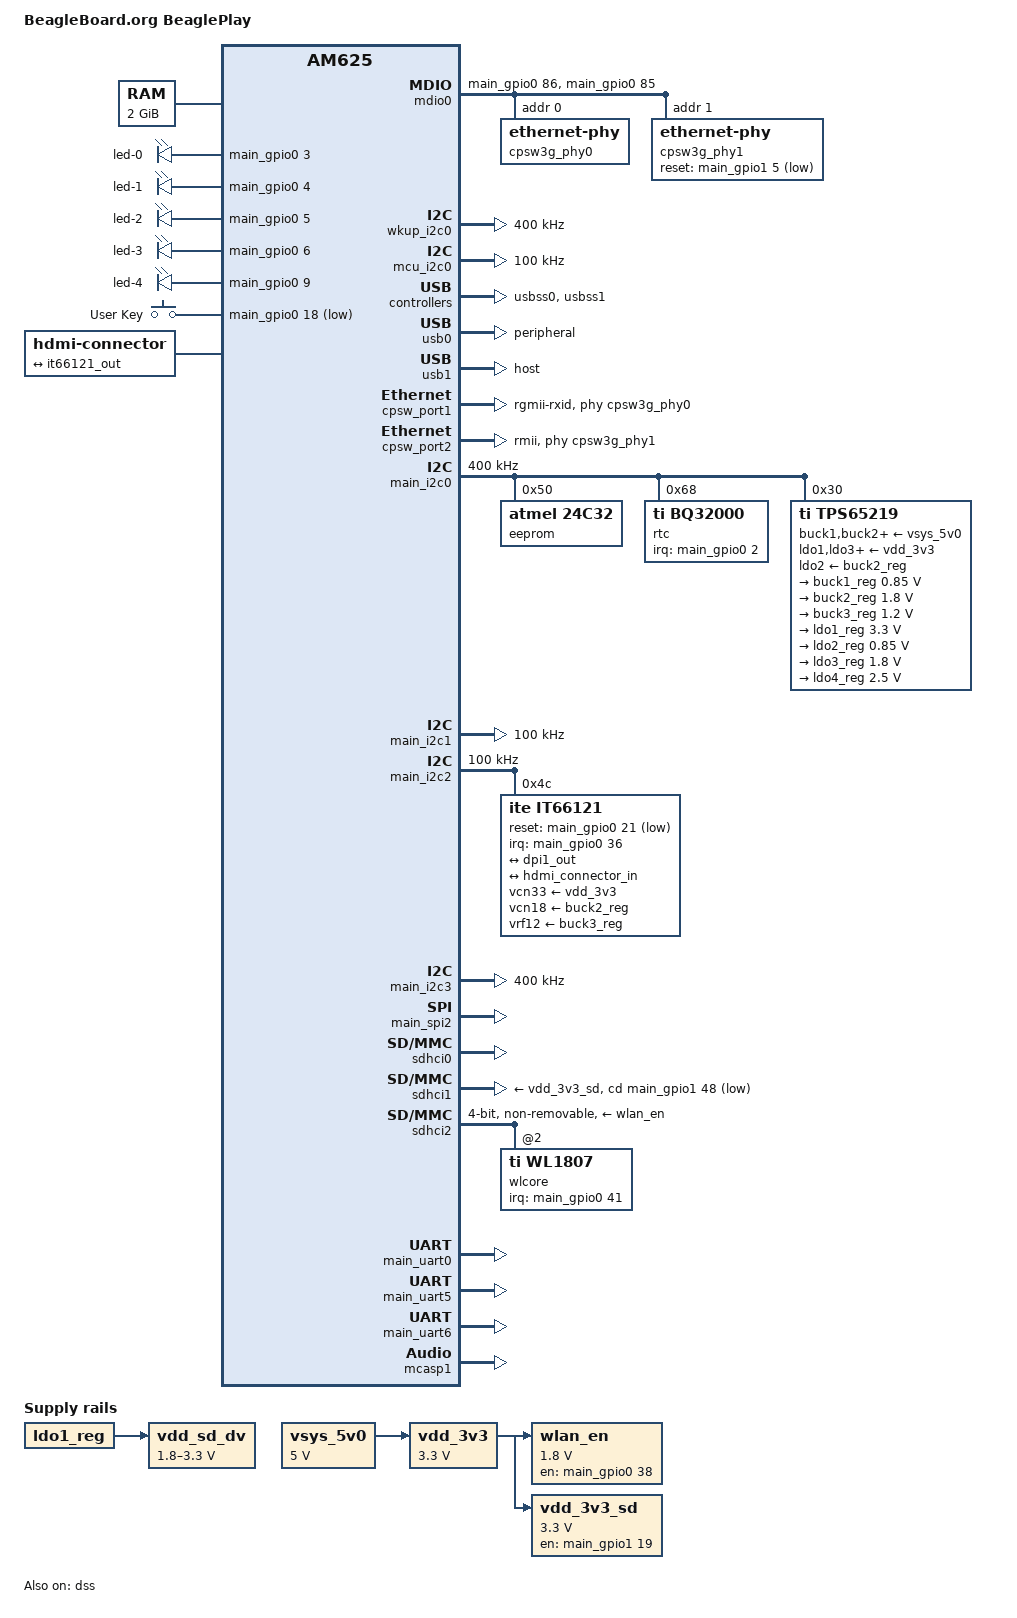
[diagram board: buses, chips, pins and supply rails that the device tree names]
// SPDX-License-Identifier: GPL-2.0
/*
 * https://beagleplay.org/
 *
 * Copyright (C) 2022-2023 Texas Instruments Incorporated - https://www.ti.com/
 * Copyright (C) 2022-2023 Robert Nelson, BeagleBoard.org Foundation
 */

/dts-v1/;

#include <dt-bindings/leds/common.h>
#include <dt-bindings/gpio/gpio.h>
#include <dt-bindings/input/input.h>
#include "k3-am625.dtsi"

/ {
	compatible = "beagle,am625-beagleplay", "ti,am625";
	model = "BeagleBoard.org BeaglePlay";

	aliases {
		ethernet0 = &cpsw_port1;
		ethernet1 = &cpsw_port2;
		gpio0 = &main_gpio0;
		gpio1 = &main_gpio1;
		gpio2 = &mcu_gpio0;
		i2c0 = &main_i2c0;
		i2c1 = &main_i2c1;
		i2c2 = &main_i2c2;
		i2c3 = &main_i2c3;
		i2c4 = &wkup_i2c0;
		i2c5 = &mcu_i2c0;
		mdio-gpio0 = &mdio0;
		mmc0 = &sdhci0;
		mmc1 = &sdhci1;
		mmc2 = &sdhci2;
		rtc0 = &rtc;
		serial0 = &main_uart5;
		serial1 = &main_uart6;
		serial2 = &main_uart0;
		usb0 = &usb0;
		usb1 = &usb1;
	};

	chosen {
		stdout-path = "serial2:115200n8";
	};

	memory@80000000 {
		device_type = "memory";
		/* 2G RAM */
		reg = <0x00000000 0x80000000 0x00000000 0x80000000>;
	};

	reserved-memory {
		#address-cells = <2>;
		#size-cells = <2>;
		ranges;

		ramoops: ramoops@9ca00000 {
			compatible = "ramoops";
			reg = <0x00 0x9ca00000 0x00 0x00100000>;
			record-size = <0x8000>;
			console-size = <0x8000>;
			ftrace-size = <0x00>;
			pmsg-size = <0x8000>;
		};

		secure_tfa_ddr: tfa@9e780000 {
			reg = <0x00 0x9e780000 0x00 0x80000>;
			no-map;
		};

		secure_ddr: optee@9e800000 {
			reg = <0x00 0x9e800000 0x00 0x01800000>;
			no-map;
		};

		wkup_r5fss0_core0_dma_memory_region: r5f-dma-memory@9db00000 {
			compatible = "shared-dma-pool";
			reg = <0x00 0x9db00000 0x00 0xc00000>;
			no-map;
		};
	};

	vsys_5v0: regulator-1 {
		compatible = "regulator-fixed";
		regulator-name = "vsys_5v0";
		regulator-min-microvolt = <5000000>;
		regulator-max-microvolt = <5000000>;
		regulator-always-on;
		regulator-boot-on;
	};

	vdd_3v3: regulator-2 {
		/* output of TLV62595DMQR-U12 */
		compatible = "regulator-fixed";
		regulator-name = "vdd_3v3";
		regulator-min-microvolt = <3300000>;
		regulator-max-microvolt = <3300000>;
		vin-supply = <&vsys_5v0>;
		regulator-always-on;
		regulator-boot-on;
	};

	wlan_en: regulator-3 {
		/* OUTPUT of SN74AVC2T244DQMR */
		compatible = "regulator-fixed";
		regulator-name = "wlan_en";
		regulator-min-microvolt = <1800000>;
		regulator-max-microvolt = <1800000>;
		enable-active-high;
		regulator-always-on;
		vin-supply = <&vdd_3v3>;
		gpio = <&main_gpio0 38 GPIO_ACTIVE_HIGH>;
		pinctrl-names = "default";
		pinctrl-0 = <&wifi_en_pins_default>;
	};

	vdd_3v3_sd: regulator-4 {
		/* output of TPS22918DBVR-U21 */
		pinctrl-names = "default";
		pinctrl-0 = <&vdd_3v3_sd_pins_default>;

		compatible = "regulator-fixed";
		regulator-name = "vdd_3v3_sd";
		regulator-min-microvolt = <3300000>;
		regulator-max-microvolt = <3300000>;
		enable-active-high;
		regulator-always-on;
		vin-supply = <&vdd_3v3>;
		gpio = <&main_gpio1 19 GPIO_ACTIVE_HIGH>;
	};

	vdd_sd_dv: regulator-5 {
		compatible = "regulator-gpio";
		regulator-name = "sd_hs200_switch";
		pinctrl-names = "default";
		pinctrl-0 = <&vdd_sd_dv_pins_default>;
		regulator-min-microvolt = <1800000>;
		regulator-max-microvolt = <3300000>;
		regulator-boot-on;
		vin-supply = <&ldo1_reg>;
		gpios = <&main_gpio1 49 GPIO_ACTIVE_HIGH>;
		states = <1800000 0x0>,
			 <3300000 0x1>;
	};

	leds {
		compatible = "gpio-leds";

		led-0 {
			gpios = <&main_gpio0 3 GPIO_ACTIVE_HIGH>;
			linux,default-trigger = "heartbeat";
			function = LED_FUNCTION_HEARTBEAT;
			default-state = "off";
		};

		led-1 {
			gpios = <&main_gpio0 4 GPIO_ACTIVE_HIGH>;
			linux,default-trigger = "disk-activity";
			function = LED_FUNCTION_DISK_ACTIVITY;
			default-state = "keep";
		};

		led-2 {
			gpios = <&main_gpio0 5 GPIO_ACTIVE_HIGH>;
			function = LED_FUNCTION_CPU;
		};

		led-3 {
			gpios = <&main_gpio0 6 GPIO_ACTIVE_HIGH>;
			function = LED_FUNCTION_LAN;
		};

		led-4 {
			gpios = <&main_gpio0 9 GPIO_ACTIVE_HIGH>;
			function = LED_FUNCTION_WLAN;
		};
	};

	gpio_keys: gpio-keys {
		compatible = "gpio-keys";
		autorepeat;
		pinctrl-names = "default";
		pinctrl-0 = <&usr_button_pins_default>;

		usr: button-usr {
			label = "User Key";
			linux,code = <BTN_0>;
			gpios = <&main_gpio0 18 GPIO_ACTIVE_LOW>;
		};

	};

	hdmi0: connector-hdmi {
		compatible = "hdmi-connector";
		label = "hdmi";
		type = "a";
		port {
			hdmi_connector_in: endpoint {
				remote-endpoint = <&it66121_out>;
			};
		};
	};

	sound {
		compatible = "simple-audio-card";
		simple-audio-card,name = "it66121 HDMI";
		simple-audio-card,format = "i2s";
		simple-audio-card,bitclock-master = <&hdmi_dailink_master>;
		simple-audio-card,frame-master = <&hdmi_dailink_master>;

		hdmi_dailink_master: simple-audio-card,cpu {
			sound-dai = <&mcasp1>;
			system-clock-direction-out;
		};

		simple-audio-card,codec {
			sound-dai = <&it66121>;
		};
	};

	/* Workaround for errata i2329 - just use mdio bitbang */
	mdio0: mdio {
		compatible = "virtual,mdio-gpio";
		pinctrl-names = "default";
		pinctrl-0 = <&mdio0_pins_default>;
		gpios = <&main_gpio0 86 GPIO_ACTIVE_HIGH>, /* MDC */
			<&main_gpio0 85 GPIO_ACTIVE_HIGH>; /* MDIO */
		#address-cells = <1>;
		#size-cells = <0>;

		cpsw3g_phy0: ethernet-phy@0 {
			reg = <0>;
		};

		cpsw3g_phy1: ethernet-phy@1 {
			reg = <1>;
			reset-gpios = <&main_gpio1 5 GPIO_ACTIVE_LOW>;
			reset-assert-us = <25>;
			reset-deassert-us = <60000>; /* T2 */
		};
	};
};

&main_pmx0 {
	gpio0_pins_default: gpio0-default-pins {
		pinctrl-single,pins = <
			AM62X_IOPAD(0x0004, PIN_INPUT, 7) /* (G25) OSPI0_LBCLKO.GPIO0_1 */
			AM62X_IOPAD(0x0008, PIN_INPUT, 7) /* (J24) OSPI0_DQS.GPIO0_2 */
			AM62X_IOPAD(0x000c, PIN_INPUT, 7) /* (E25) OSPI0_D0.GPIO0_3 */
			AM62X_IOPAD(0x0010, PIN_INPUT, 7) /* (G24) OSPI0_D1.GPIO0_4 */
			AM62X_IOPAD(0x0014, PIN_INPUT, 7) /* (F25) OSPI0_D2.GPIO0_5 */
			AM62X_IOPAD(0x0018, PIN_INPUT, 7) /* (F24) OSPI0_D3.GPIO0_6 */
			AM62X_IOPAD(0x0024, PIN_INPUT, 7) /* (H25) OSPI0_D6.GPIO0_9 */
			AM62X_IOPAD(0x0028, PIN_INPUT, 7) /* (J22) OSPI0_D7.GPIO0_10 */
			AM62X_IOPAD(0x002c, PIN_INPUT, 7) /* (F23) OSPI0_CSn0.GPIO0_11 */
			AM62X_IOPAD(0x0030, PIN_INPUT, 7) /* (G21) OSPI0_CSn1.GPIO0_12 */
			AM62X_IOPAD(0x0034, PIN_INPUT, 7) /* (H21) OSPI0_CSn2.GPIO0_13 */
			AM62X_IOPAD(0x0038, PIN_INPUT, 7) /* (E24) OSPI0_CSn3.GPIO0_14 */
			AM62X_IOPAD(0x00a4, PIN_INPUT, 7) /* (M22) GPMC0_DIR.GPIO0_40 */
			AM62X_IOPAD(0x00ac, PIN_INPUT, 7) /* (L21) GPMC0_CSn1.GPIO0_42 */
		>;
	};

	vdd_sd_dv_pins_default: vdd-sd-default-pins {
		pinctrl-single,pins = <
			AM62X_IOPAD(0x0244, PIN_OUTPUT, 7) /* (C17) MMC1_SDWP.GPIO1_49 */
		>;
	};

	usr_button_pins_default: usr-button-default-pins {
		pinctrl-single,pins = <
			AM62X_IOPAD(0x0048, PIN_INPUT, 7) /* (N25) GPMC0_AD3.GPIO0_18 */
		>;
	};

	grove_pins_default: grove-default-pins {
		pinctrl-single,pins = <
			AM62X_IOPAD(0x01e8, PIN_INPUT_PULLUP, 0) /* (B17) I2C1_SCL */
			AM62X_IOPAD(0x01ec, PIN_INPUT_PULLUP, 0) /* (A17) I2C1_SDA */
		>;
	};

	local_i2c_pins_default: local-i2c-default-pins {
		pinctrl-single,pins = <
			AM62X_IOPAD(0x01e0, PIN_INPUT_PULLUP, 0) /* (B16) I2C0_SCL */
			AM62X_IOPAD(0x01e4, PIN_INPUT_PULLUP, 0) /* (A16) I2C0_SDA */
		>;
	};

	i2c2_1v8_pins_default: i2c2-default-pins {
		pinctrl-single,pins = <
			AM62X_IOPAD(0x00b0, PIN_INPUT_PULLUP, 1) /* (K22) GPMC0_CSn2.I2C2_SCL */
			AM62X_IOPAD(0x00b4, PIN_INPUT_PULLUP, 1) /* (K24) GPMC0_CSn3.I2C2_SDA */
		>;
	};

	mdio0_pins_default: mdio0-default-pins {
		pinctrl-single,pins = <
			AM62X_IOPAD(0x0160, PIN_OUTPUT, 7) /* (AD24) MDIO0_MDC.GPIO0_86 */
			AM62X_IOPAD(0x015c, PIN_INPUT, 7) /* (AB22) MDIO0_MDIO.GPIO0_85 */
		>;
	};

	rgmii1_pins_default: rgmii1-default-pins {
		pinctrl-single,pins = <
			AM62X_IOPAD(0x014c, PIN_INPUT, 0) /* (AB17) RGMII1_RD0 */
			AM62X_IOPAD(0x0150, PIN_INPUT, 0) /* (AC17) RGMII1_RD1 */
			AM62X_IOPAD(0x0154, PIN_INPUT, 0) /* (AB16) RGMII1_RD2 */
			AM62X_IOPAD(0x0158, PIN_INPUT, 0) /* (AA15) RGMII1_RD3 */
			AM62X_IOPAD(0x0148, PIN_INPUT, 0) /* (AD17) RGMII1_RXC */
			AM62X_IOPAD(0x0144, PIN_INPUT, 0) /* (AE17) RGMII1_RX_CTL */
			AM62X_IOPAD(0x0134, PIN_OUTPUT, 0) /* (AE20) RGMII1_TD0 */
			AM62X_IOPAD(0x0138, PIN_OUTPUT, 0) /* (AD20) RGMII1_TD1 */
			AM62X_IOPAD(0x013c, PIN_OUTPUT, 0) /* (AE18) RGMII1_TD2 */
			AM62X_IOPAD(0x0140, PIN_OUTPUT, 0) /* (AD18) RGMII1_TD3 */
			AM62X_IOPAD(0x0130, PIN_OUTPUT, 0) /* (AE19) RGMII1_TXC */
			AM62X_IOPAD(0x012c, PIN_OUTPUT, 0) /* (AD19) RGMII1_TX_CTL */
		>;
	};

	emmc_pins_default: emmc-default-pins {
		pinctrl-single,pins = <
			AM62X_IOPAD(0x0220, PIN_INPUT, 0) /* (Y3) MMC0_CMD */
			AM62X_IOPAD(0x0218, PIN_INPUT, 0) /* (AB1) MMC0_CLK */
			AM62X_IOPAD(0x0214, PIN_INPUT, 0) /* (AA2) MMC0_DAT0 */
			AM62X_IOPAD(0x0210, PIN_INPUT, 0) /* (AA1) MMC0_DAT1 */
			AM62X_IOPAD(0x020c, PIN_INPUT, 0) /* (AA3) MMC0_DAT2 */
			AM62X_IOPAD(0x0208, PIN_INPUT, 0) /* (Y4) MMC0_DAT3 */
			AM62X_IOPAD(0x0204, PIN_INPUT, 0) /* (AB2) MMC0_DAT4 */
			AM62X_IOPAD(0x0200, PIN_INPUT, 0) /* (AC1) MMC0_DAT5 */
			AM62X_IOPAD(0x01fc, PIN_INPUT, 0) /* (AD2) MMC0_DAT6 */
			AM62X_IOPAD(0x01f8, PIN_INPUT, 0) /* (AC2) MMC0_DAT7 */
		>;
	};

	vdd_3v3_sd_pins_default: vdd-3v3-sd-default-pins {
		pinctrl-single,pins = <
			AM62X_IOPAD(0x01c4, PIN_INPUT, 7) /* (B14) SPI0_D1_GPIO1_19 */
		>;
	};

	sd_pins_default: sd-default-pins {
		pinctrl-single,pins = <
			AM62X_IOPAD(0x023c, PIN_INPUT, 0) /* (A21) MMC1_CMD */
			AM62X_IOPAD(0x0234, PIN_INPUT, 0) /* (B22) MMC1_CLK */
			AM62X_IOPAD(0x0230, PIN_INPUT, 0) /* (A22) MMC1_DAT0 */
			AM62X_IOPAD(0x022c, PIN_INPUT, 0) /* (B21) MMC1_DAT1 */
			AM62X_IOPAD(0x0228, PIN_INPUT, 0) /* (C21) MMC1_DAT2 */
			AM62X_IOPAD(0x0224, PIN_INPUT, 0) /* (D22) MMC1_DAT3 */
			AM62X_IOPAD(0x0240, PIN_INPUT, 7) /* (D17) MMC1_SDCD.GPIO1_48 */
		>;
	};

	wifi_pins_default: wifi-default-pins {
		pinctrl-single,pins = <
			AM62X_IOPAD(0x0120, PIN_INPUT, 0) /* (C24) MMC2_CMD */
			AM62X_IOPAD(0x0118, PIN_INPUT, 0) /* (D25) MMC2_CLK */
			AM62X_IOPAD(0x0114, PIN_INPUT, 0) /* (B24) MMC2_DAT0 */
			AM62X_IOPAD(0x0110, PIN_INPUT, 0) /* (C25) MMC2_DAT1 */
			AM62X_IOPAD(0x010c, PIN_INPUT, 0) /* (E23) MMC2_DAT2 */
			AM62X_IOPAD(0x0108, PIN_INPUT, 0) /* (D24) MMC2_DAT3 */
			AM62X_IOPAD(0x0124, PIN_INPUT, 0) /* (A23) MMC2_SDCD */
			AM62X_IOPAD(0x11c, PIN_INPUT, 0) /* (#N/A) MMC2_CLKB */
		>;
	};

	wifi_en_pins_default: wifi-en-default-pins {
		pinctrl-single,pins = <
			AM62X_IOPAD(0x009c, PIN_OUTPUT, 7) /* (V25) GPMC0_WAIT1.GPIO0_38 */
		>;
	};

	wifi_wlirq_pins_default: wifi-wlirq-default-pins {
		pinctrl-single,pins = <
			AM62X_IOPAD(0x00a8, PIN_INPUT, 7) /* (M21) GPMC0_CSn0.GPIO0_41 */
		>;
	};

	spe_pins_default: spe-default-pins {
		pinctrl-single,pins = <
			AM62X_IOPAD(0x0168, PIN_INPUT, 1) /* (AE21) RGMII2_TXC.RMII2_CRS_DV */
			AM62X_IOPAD(0x0180, PIN_INPUT, 1) /* (AD23) RGMII2_RXC.RMII2_REF_CLK */
			AM62X_IOPAD(0x0184, PIN_INPUT, 1) /* (AE23) RGMII2_RD0.RMII2_RXD0 */
			AM62X_IOPAD(0x0188, PIN_INPUT, 1) /* (AB20) RGMII2_RD1.RMII2_RXD1 */
			AM62X_IOPAD(0x017c, PIN_INPUT, 1) /* (AD22) RGMII2_RX_CTL.RMII2_RX_ER */
			AM62X_IOPAD(0x016c, PIN_INPUT, 1) /* (Y18) RGMII2_TD0.RMII2_TXD0 */
			AM62X_IOPAD(0x0170, PIN_INPUT, 1) /* (AA18) RGMII2_TD1.RMII2_TXD1 */
			AM62X_IOPAD(0x0164, PIN_INPUT, 1) /* (AA19) RGMII2_TX_CTL.RMII2_TX_EN */
			AM62X_IOPAD(0x018c, PIN_OUTPUT, 7) /* (AC21) RGMII2_RD2.GPIO1_5 */
			AM62X_IOPAD(0x0190, PIN_INPUT, 7) /* (AE22) RGMII2_RD3.GPIO1_6 */
			AM62X_IOPAD(0x01f0, PIN_OUTPUT, 5) /* (A18) EXT_REFCLK1.CLKOUT0 */
		>;
	};

	mikrobus_i2c_pins_default: mikrobus-i2c-default-pins {
		pinctrl-single,pins = <
			AM62X_IOPAD(0x01d0, PIN_INPUT_PULLUP, 2) /* (A15) UART0_CTSn.I2C3_SCL */
			AM62X_IOPAD(0x01d4, PIN_INPUT_PULLUP, 2) /* (B15) UART0_RTSn.I2C3_SDA */
		>;
	};

	mikrobus_uart_pins_default: mikrobus-uart-default-pins {
		pinctrl-single,pins = <
			AM62X_IOPAD(0x01d8, PIN_INPUT, 1) /* (C15) MCAN0_TX.UART5_RXD */
			AM62X_IOPAD(0x01dc, PIN_OUTPUT, 1) /* (E15) MCAN0_RX.UART5_TXD */
		>;
	};

	mikrobus_spi_pins_default: mikrobus-spi-default-pins {
		pinctrl-single,pins = <
			AM62X_IOPAD(0x01b0, PIN_INPUT, 1) /* (A20) MCASP0_ACLKR.SPI2_CLK */
			AM62X_IOPAD(0x01ac, PIN_INPUT, 1) /* (E19) MCASP0_AFSR.SPI2_CS0 */
			AM62X_IOPAD(0x0194, PIN_INPUT, 1) /* (B19) MCASP0_AXR3.SPI2_D0 */
			AM62X_IOPAD(0x0198, PIN_INPUT, 1) /* (A19) MCASP0_AXR2.SPI2_D1 */
		>;
	};

	mikrobus_gpio_pins_default: mikrobus-gpio-default-pins {
		pinctrl-single,pins = <
			AM62X_IOPAD(0x019c, PIN_INPUT, 7) /* (B18) MCASP0_AXR1.GPIO1_9 */
			AM62X_IOPAD(0x01a0, PIN_INPUT, 7) /* (E18) MCASP0_AXR0.GPIO1_10 */
			AM62X_IOPAD(0x01a8, PIN_INPUT, 7) /* (D20) MCASP0_AFSX.GPIO1_12 */
		>;
	};

	console_pins_default: console-default-pins {
		pinctrl-single,pins = <
			AM62X_IOPAD(0x01c8, PIN_INPUT, 0) /* (D14) UART0_RXD */
			AM62X_IOPAD(0x01cc, PIN_OUTPUT, 0) /* (E14) UART0_TXD */
		>;
	};

	wifi_debug_uart_pins_default: wifi-debug-uart-default-pins {
		pinctrl-single,pins = <
			AM62X_IOPAD(0x001c, PIN_INPUT, 3) /* (J23) OSPI0_D4.UART6_RXD */
			AM62X_IOPAD(0x0020, PIN_OUTPUT, 3) /* (J25) OSPI0_D5.UART6_TXD */
		>;
	};

	usb1_pins_default: usb1-default-pins {
		pinctrl-single,pins = <
			AM62X_IOPAD(0x0258, PIN_INPUT, 0) /* (F18) USB1_DRVVBUS */
		>;
	};

	pmic_irq_pins_default: pmic-irq-default-pins {
		pinctrl-single,pins = <
			AM62X_IOPAD(0x01f4, PIN_INPUT_PULLUP, 0) /* (D16) EXTINTn */
		>;
	};

	hdmi_gpio_pins_default: hdmi-gpio-default-pins {
		pinctrl-single,pins = <
			AM62X_IOPAD(0x0094, PIN_INPUT_PULLUP | PIN_DEBOUNCE_CONF6, 7) /* (N20) GPMC0_BE1n.GPIO0_36 */
			AM62X_IOPAD(0x0054, PIN_OUTPUT_PULLUP, 7) /* (P21) GPMC0_AD6.GPIO0_21 */
		>;
	};

	mcasp_hdmi_pins_default: mcasp-hdmi-default-pins {
		pinctrl-single,pins = <
			AM62X_IOPAD(0x0090, PIN_INPUT, 2) /* (M24) GPMC0_BE0n_CLE.MCASP1_ACLKX */
			AM62X_IOPAD(0x0098, PIN_INPUT, 2) /* (U23) GPMC0_WAIT0.MCASP1_AFSX */
			AM62X_IOPAD(0x008c, PIN_OUTPUT, 2) /* (L25) GPMC0_WEn.MCASP1_AXR0 */
			AM62X_IOPAD(0x0088, PIN_INPUT, 2) /* (L24) GPMC0_OEn_REn.MCASP1_AXR1 */
			AM62X_IOPAD(0x0084, PIN_INPUT, 2) /* (L23) GPMC0_ADVn_ALE.MCASP1_AXR2 */
			AM62X_IOPAD(0x007c, PIN_INPUT, 2) /* (P25) GPMC0_CLK.MCASP1_AXR3 */
		>;
	};

	dss0_pins_default: dss0-default-pins {
		pinctrl-single,pins = <
			AM62X_IOPAD(0x0100, PIN_OUTPUT, 0) /* (AC25) VOUT0_VSYNC */
			AM62X_IOPAD(0x00f8, PIN_OUTPUT, 0) /* (AB24) VOUT0_HSYNC */
			AM62X_IOPAD(0x0104, PIN_OUTPUT, 0) /* (AC24) VOUT0_PCLK */
			AM62X_IOPAD(0x00fc, PIN_OUTPUT, 0) /* (Y20) VOUT0_DE */
			AM62X_IOPAD(0x00b8, PIN_OUTPUT, 0) /* (U22) VOUT0_DATA0 */
			AM62X_IOPAD(0x00bc, PIN_OUTPUT, 0) /* (V24) VOUT0_DATA1 */
			AM62X_IOPAD(0x00c0, PIN_OUTPUT, 0) /* (W25) VOUT0_DATA2 */
			AM62X_IOPAD(0x00c4, PIN_OUTPUT, 0) /* (W24) VOUT0_DATA3 */
			AM62X_IOPAD(0x00c8, PIN_OUTPUT, 0) /* (Y25) VOUT0_DATA4 */
			AM62X_IOPAD(0x00cc, PIN_OUTPUT, 0) /* (Y24) VOUT0_DATA5 */
			AM62X_IOPAD(0x00d0, PIN_OUTPUT, 0) /* (Y23) VOUT0_DATA6 */
			AM62X_IOPAD(0x00d4, PIN_OUTPUT, 0) /* (AA25) VOUT0_DATA7 */
			AM62X_IOPAD(0x00d8, PIN_OUTPUT, 0) /* (V21) VOUT0_DATA8 */
			AM62X_IOPAD(0x00dc, PIN_OUTPUT, 0) /* (W21) VOUT0_DATA9 */
			AM62X_IOPAD(0x00e0, PIN_OUTPUT, 0) /* (V20) VOUT0_DATA10 */
			AM62X_IOPAD(0x00e4, PIN_OUTPUT, 0) /* (AA23) VOUT0_DATA11 */
			AM62X_IOPAD(0x00e8, PIN_OUTPUT, 0) /* (AB25) VOUT0_DATA12 */
			AM62X_IOPAD(0x00ec, PIN_OUTPUT, 0) /* (AA24) VOUT0_DATA13 */
			AM62X_IOPAD(0x00f0, PIN_OUTPUT, 0) /* (Y22) VOUT0_DATA14 */
			AM62X_IOPAD(0x00f4, PIN_OUTPUT, 0) /* (AA21) VOUT0_DATA15 */
			AM62X_IOPAD(0x005c, PIN_OUTPUT, 1) /* (R24) GPMC0_AD8.VOUT0_DATA16 */
			AM62X_IOPAD(0x0060, PIN_OUTPUT, 1) /* (R25) GPMC0_AD9.VOUT0_DATA17 */
			AM62X_IOPAD(0x0064, PIN_OUTPUT, 1) /* (T25) GPMC0_AD10.VOUT0_DATA18 */
			AM62X_IOPAD(0x0068, PIN_OUTPUT, 1) /* (R21) GPMC0_AD11.VOUT0_DATA19 */
			AM62X_IOPAD(0x006c, PIN_OUTPUT, 1) /* (T22) GPMC0_AD12.VOUT0_DATA20 */
			AM62X_IOPAD(0x0070, PIN_OUTPUT, 1) /* (T24) GPMC0_AD13.VOUT0_DATA21 */
			AM62X_IOPAD(0x0074, PIN_OUTPUT, 1) /* (U25) GPMC0_AD14.VOUT0_DATA22 */
			AM62X_IOPAD(0x0078, PIN_OUTPUT, 1) /* (U24) GPMC0_AD15.VOUT0_DATA23 */
		>;
	};
};

&mcu_pmx0 {
	i2c_qwiic_pins_default: i2c-qwiic-default-pins {
		pinctrl-single,pins = <
			AM62X_MCU_IOPAD(0x0044, PIN_INPUT, 0) /* (A8) MCU_I2C0_SCL */
			AM62X_MCU_IOPAD(0x0048, PIN_INPUT, 0) /* (D10) MCU_I2C0_SDA */
		>;
	};

	gbe_pmx_obsclk: gbe-pmx-obsclk-default-pins {
		pinctrl-single,pins = <
			AM62X_MCU_IOPAD(0x0004, PIN_OUTPUT, 1) /* (B8) MCU_SPI0_CS1.MCU_OBSCLK0 */
		>;
	};

	i2c_csi_pins_default: i2c-csi-default-pins {
		pinctrl-single,pins = <
			AM62X_MCU_IOPAD(0x004c, PIN_INPUT_PULLUP, 0) /* (B9) WKUP_I2C0_SCL */
			AM62X_MCU_IOPAD(0x0050, PIN_INPUT_PULLUP, 0) /* (A9) WKUP_I2C0_SDA */
		>;
	};

	wifi_32k_clk: mcu-clk-out-default-pins {
		pinctrl-single,pins = <
			AM62X_MCU_IOPAD(0x0084, PIN_OUTPUT, 0) /* (A12) WKUP_CLKOUT0 */
		>;
	};
};

&a53_opp_table {
	/* Requires VDD_CORE to be at 0.85V */
	opp-1400000000 {
		opp-hz = /bits/ 64 <1400000000>;
		opp-supported-hw = <0x01 0x0004>;
	};
};

&wkup_i2c0 {
	pinctrl-names = "default";
	pinctrl-0 = <&i2c_csi_pins_default>;
	clock-frequency = <400000>;
	/* Enable with overlay for camera sensor */
};

&mcu_i2c0 {
	pinctrl-names = "default";
	pinctrl-0 = <&i2c_qwiic_pins_default>;
	clock-frequency = <100000>;
	status = "okay";
};

&usbss0 {
	ti,vbus-divider;
	status = "okay";
};

&usb0 {
	dr_mode = "peripheral";
};

&usbss1 {
	ti,vbus-divider;
	status = "okay";
};

&usb1 {
	dr_mode = "host";
	pinctrl-names = "default";
	pinctrl-0 = <&usb1_pins_default>;
};

&cpsw3g {
	pinctrl-names = "default";
	pinctrl-0 = <&rgmii1_pins_default>, <&spe_pins_default>,
		    <&gbe_pmx_obsclk>;
	assigned-clocks = <&k3_clks 157 70>, <&k3_clks 157 20>;
	assigned-clock-parents = <&k3_clks 157 72>, <&k3_clks 157 22>;
};

&cpsw_port1 {
	phy-mode = "rgmii-rxid";
	phy-handle = <&cpsw3g_phy0>;
};

&cpsw_port2 {
	phy-mode = "rmii";
	phy-handle = <&cpsw3g_phy1>;
};

&cpsw3g_mdio {
	/* Workaround for errata i2329 - Use mdio bitbang */
	status = "disabled";
};

&main_gpio0 {
	pinctrl-names = "default";
	pinctrl-0 = <&gpio0_pins_default>;
	gpio-line-names = "BL_EN_3V3", "SPE_PO_EN", "RTC_INT",	/* 0-2 */
		"USR0", "USR1", "USR2", "USR3", "", "", "USR4",	/* 3-9 */
		"EEPROM_WP",					/* 10 */
		"CSI2_CAMERA_GPIO1", "CSI2_CAMERA_GPIO2",	/* 11-12 */
		"CC1352P7_BOOT", "CC1352P7_RSTN", "", "", "",	/* 13-17 */
		"USR_BUTTON", "", "", "", "", "", "", "", "",	/* 18-26 */
		"", "", "", "", "", "", "", "", "", "HDMI_INT",	/* 27-36 */
		"", "VDD_WLAN_EN", "", "", "WL_IRQ", "GBE_INTN",/* 37-42 */
		"", "", "", "", "", "", "", "", "", "", "", "",	/* 43-54 */
		"", "", "", "", "", "", "", "", "", "", "", "", /* 55-66 */
		"", "", "", "", "", "", "", "", "", "", "", "", /* 67-78 */
		"", "", "", "", "", "",				/* 79-84 */
		"BITBANG_MDIO_DATA", "BITBANG_MDIO_CLK",	/* 85-86 */
		"", "", "", "", "";				/* 87-91 */
};

&main_gpio1 {
	pinctrl-names = "default";
	pinctrl-0 = <&mikrobus_gpio_pins_default>;
	gpio-line-names = "", "", "", "", "",			/* 0-4 */
		"SPE_RSTN", "SPE_INTN", "MIKROBUS_GPIO1_7",	/* 5-7 */
		"MIKROBUS_GPIO1_8", "MIKROBUS_GPIO1_9",		/* 8-9 */
		"MIKROBUS_GPIO1_10", "MIKROBUS_GPIO1_11",	/* 10-11 */
		"MIKROBUS_GPIO1_12", "MIKROBUS_W1_GPIO0",	/* 12-13 */
		"MIKROBUS_GPIO1_14",				/* 14 */
		"", "", "", "", "VDD_3V3_SD", "", "",		/* 15-21 */
		"MIKROBUS_GPIO1_22", "MIKROBUS_GPIO1_23",	/* 22-23 */
		"MIKROBUS_GPIO1_24", "MIKROBUS_GPIO1_25",	/* 24-25 */
		"", "", "", "", "", "", "", "", "", "", "", "",	/* 26-37 */
		"", "", "", "", "", "", "", "", "", "",		/* 38-47 */
		"SD_CD", "SD_VOLT_SEL", "", "";			/* 48-51 */
};

&main_i2c0 {
	pinctrl-names = "default";
	pinctrl-0 = <&local_i2c_pins_default>;
	clock-frequency = <400000>;
	status = "okay";

	eeprom@50 {
		compatible = "atmel,24c32";
		reg = <0x50>;
	};

	rtc: rtc@68 {
		compatible = "ti,bq32000";
		reg = <0x68>;
		interrupt-parent = <&main_gpio0>;
		interrupts = <2 IRQ_TYPE_EDGE_FALLING>;
	};

	tps65219: pmic@30 {
		compatible = "ti,tps65219";
		reg = <0x30>;
		buck1-supply = <&vsys_5v0>;
		buck2-supply = <&vsys_5v0>;
		buck3-supply = <&vsys_5v0>;
		ldo1-supply = <&vdd_3v3>;
		ldo2-supply = <&buck2_reg>;
		ldo3-supply = <&vdd_3v3>;
		ldo4-supply = <&vdd_3v3>;

		pinctrl-names = "default";
		pinctrl-0 = <&pmic_irq_pins_default>;
		interrupt-parent = <&gic500>;
		interrupts = <GIC_SPI 224 IRQ_TYPE_LEVEL_HIGH>;
		interrupt-controller;
		#interrupt-cells = <1>;

		system-power-controller;
		ti,power-button;

		regulators {
			buck1_reg: buck1 {
				regulator-name = "VDD_CORE";
				regulator-min-microvolt = <850000>;
				regulator-max-microvolt = <850000>;
				regulator-boot-on;
				regulator-always-on;
			};

			buck2_reg: buck2 {
				regulator-name = "VDD_1V8";
				regulator-min-microvolt = <1800000>;
				regulator-max-microvolt = <1800000>;
				regulator-boot-on;
				regulator-always-on;
			};

			buck3_reg: buck3 {
				regulator-name = "VDD_1V2";
				regulator-min-microvolt = <1200000>;
				regulator-max-microvolt = <1200000>;
				regulator-boot-on;
				regulator-always-on;
			};

			ldo1_reg: ldo1 {
				/*
				 * Regulator is left as is unused, vdd_sd
				 * is controlled via GPIO with bypass config
				 * as per the NVM configuration
				 */
				regulator-name = "VDD_SD_3V3";
				regulator-min-microvolt = <3300000>;
				regulator-max-microvolt = <3300000>;
				regulator-allow-bypass;
				regulator-boot-on;
				regulator-always-on;
			};

			ldo2_reg: ldo2 {
				regulator-name = "VDDA_0V85";
				regulator-min-microvolt = <850000>;
				regulator-max-microvolt = <850000>;
				regulator-boot-on;
				regulator-always-on;
			};

			ldo3_reg: ldo3 {
				regulator-name = "VDDA_1V8";
				regulator-min-microvolt = <1800000>;
				regulator-max-microvolt = <1800000>;
				regulator-boot-on;
				regulator-always-on;
			};

			ldo4_reg: ldo4 {
				regulator-name = "VDD_2V5";
				regulator-min-microvolt = <2500000>;
				regulator-max-microvolt = <2500000>;
				regulator-boot-on;
				regulator-always-on;
			};
		};
	};
};

&main_i2c1 {
	pinctrl-names = "default";
	pinctrl-0 = <&grove_pins_default>;
	clock-frequency = <100000>;
	status = "okay";
};

&main_i2c2 {
	pinctrl-names = "default";
	pinctrl-0 = <&i2c2_1v8_pins_default>;
	clock-frequency = <100000>;
	status = "okay";

	it66121: bridge-hdmi@4c {
		compatible = "ite,it66121";
		reg = <0x4c>;
		pinctrl-names = "default";
		pinctrl-0 = <&hdmi_gpio_pins_default>;
		vcn33-supply = <&vdd_3v3>;
		vcn18-supply = <&buck2_reg>;
		vrf12-supply = <&buck3_reg>;
		reset-gpios = <&main_gpio0 21 GPIO_ACTIVE_LOW>;
		interrupt-parent = <&main_gpio0>;
		interrupts = <36 IRQ_TYPE_EDGE_FALLING>;
		#sound-dai-cells = <0>;

		ports {
			#address-cells = <1>;
			#size-cells = <0>;

			port@0 {
				reg = <0>;

				it66121_in: endpoint {
					bus-width = <24>;
					remote-endpoint = <&dpi1_out>;
				};
			};

			port@1 {
				reg = <1>;

				it66121_out: endpoint {
					remote-endpoint = <&hdmi_connector_in>;
				};
			};
		};
	};
};

&main_i2c3 {
	pinctrl-names = "default";
	pinctrl-0 = <&mikrobus_i2c_pins_default>;
	clock-frequency = <400000>;
	status = "okay";
};

&main_spi2 {
	pinctrl-names = "default";
	pinctrl-0 = <&mikrobus_spi_pins_default>;
	status = "okay";
};

&sdhci0 {
	pinctrl-names = "default";
	pinctrl-0 = <&emmc_pins_default>;
	ti,driver-strength-ohm = <50>;
	disable-wp;
	status = "okay";
};

&sdhci1 {
	/* SD/MMC */
	pinctrl-names = "default";
	pinctrl-0 = <&sd_pins_default>;

	vmmc-supply = <&vdd_3v3_sd>;
	vqmmc-supply = <&vdd_sd_dv>;
	ti,driver-strength-ohm = <50>;
	disable-wp;
	cd-gpios = <&main_gpio1 48 GPIO_ACTIVE_LOW>;
	cd-debounce-delay-ms = <100>;
	ti,fails-without-test-cd;
	status = "okay";
};

&sdhci2 {
	vmmc-supply = <&wlan_en>;
	pinctrl-names = "default";
	pinctrl-0 = <&wifi_pins_default>, <&wifi_32k_clk>;
	bus-width = <4>;
	non-removable;
	ti,fails-without-test-cd;
	cap-power-off-card;
	keep-power-in-suspend;
	ti,driver-strength-ohm = <50>;
	assigned-clocks = <&k3_clks 157 158>;
	assigned-clock-parents = <&k3_clks 157 160>;
	#address-cells = <1>;
	#size-cells = <0>;
	status = "okay";

	wlcore: wlcore@2 {
		compatible = "ti,wl1807";
		reg = <2>;
		pinctrl-names = "default";
		pinctrl-0 = <&wifi_wlirq_pins_default>;
		interrupt-parent = <&main_gpio0>;
		interrupts = <41 IRQ_TYPE_EDGE_FALLING>;
	};
};

&main_uart0 {
	pinctrl-names = "default";
	pinctrl-0 = <&console_pins_default>;
	status = "okay";
};

&main_uart1 {
	/* Main UART1 is used by TIFS firmware */
	status = "reserved";
};

&main_uart5 {
	pinctrl-names = "default";
	pinctrl-0 = <&mikrobus_uart_pins_default>;
	status = "okay";
};

&main_uart6 {
	pinctrl-names = "default";
	pinctrl-0 = <&wifi_debug_uart_pins_default>;
	status = "okay";
};

&dss {
	status = "okay";
	pinctrl-names = "default";
	pinctrl-0 = <&dss0_pins_default>;
};

&dss_ports {
	/* VP2: DPI Output */
	port@1 {
		reg = <1>;

		dpi1_out: endpoint {
			remote-endpoint = <&it66121_in>;
		};
	};
};

&mcasp1 {
	status = "okay";
	#sound-dai-cells = <0>;
	pinctrl-names = "default";
	pinctrl-0 = <&mcasp_hdmi_pins_default>;
	auxclk-fs-ratio = <2177>;
	op-mode = <0>;          /* MCASP_IIS_MODE */
	tdm-slots = <2>;
	serial-dir = <  /* 0: INACTIVE, 1: TX, 2: RX */
	       1 0 0 0
	       0 0 0 0
	       0 0 0 0
	       0 0 0 0
	>;
	tx-num-evt = <32>;
	rx-num-evt = <32>;
};
